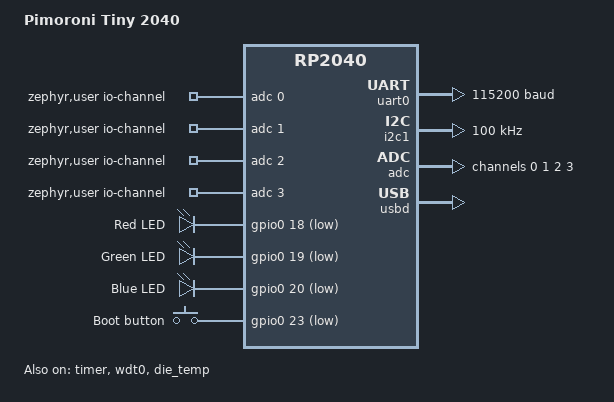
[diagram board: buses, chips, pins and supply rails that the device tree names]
/*
 * Copyright (c) 2021 Yonatan Schachter
 * Copyright (c) 2022 Peter Johanson
 * Copyright (c) 2026 Jonas Berg
 *
 * SPDX-License-Identifier: Apache-2.0
 */

/dts-v1/;

#include <raspberrypi/rpi_pico/rp2040.dtsi>
#include <zephyr/dt-bindings/pinctrl/rpi-pico-rp2040-pinctrl.h>
#include <zephyr/dt-bindings/input/input-event-codes.h>
#include <zephyr/dt-bindings/led/led.h>
#include "tiny2040-pinctrl.dtsi"

/ {
	model = "Pimoroni Tiny 2040";
	compatible = "pimoroni,tiny2040";

	chosen {
		zephyr,sram = &sram0;
		zephyr,flash = &flash0;
		zephyr,flash-controller = &ssi;
		zephyr,console = &uart0;
		zephyr,shell-uart = &uart0;
		zephyr,code-partition = &code_partition;
	};

	aliases {
		watchdog0 = &wdt0;
		led0 = &red_led;
		led1 = &green_led;
		led2 = &blue_led;
		sw0 = &boot_button;
	};

	zephyr,user {
		io-channels = <&adc 0>, <&adc 1>, <&adc 2>, <&adc 3>;
	};

	leds: leds {
		compatible = "gpio-leds";

		red_led: red_led {
			gpios = <&gpio0 18 GPIO_ACTIVE_LOW>;
			label = "Red LED";
		};

		green_led: green_led {
			gpios = <&gpio0 19 GPIO_ACTIVE_LOW>;
			label = "Green LED";
		};

		blue_led: blue_led {
			gpios = <&gpio0 20 GPIO_ACTIVE_LOW>;
			label = "Blue LED";
		};
	};

	gpio_keys {
		compatible = "gpio-keys";

		boot_button: boot_button {
			label = "Boot button";
			gpios = <&gpio0 23 (GPIO_ACTIVE_LOW | GPIO_PULL_UP)>;
			zephyr,code = <INPUT_KEY_0>;
		};
	};
};

&flash0 {
	reg = <0x10000000 DT_SIZE_M(8)>;
	ranges = <0x0 0x10000000 DT_SIZE_M(8)>;

	partitions {
		compatible = "fixed-partitions";
		#address-cells = <1>;
		#size-cells = <1>;
		ranges;

		/* Reserved memory for the second stage bootloader */
		second_stage_bootloader: partition@0 {
			label = "second_stage_bootloader";
			reg = <0x00000000 0x100>;
			read-only;
		};

		/*
		 * Usable flash. Starts at 0x100, after the bootloader. The partition
		 * size is 8 MB minus the 0x100 bytes taken by the bootloader.
		 */
		code_partition: partition@100 {
			label = "code-partition";
			reg = <0x100 (DT_SIZE_M(8) - 0x100)>;
			read-only;
		};
	};
};

&gpio0 {
	status = "okay";
};

&uart0 {
	current-speed = <115200>;
	status = "okay";
	pinctrl-0 = <&uart0_default>;
	pinctrl-names = "default";
};

&i2c1 {
	status = "okay";
	pinctrl-0 = <&i2c1_default>;
	pinctrl-names = "default";
	clock-frequency = <I2C_BITRATE_STANDARD>;
};

&timer {
	status = "okay";
};

&wdt0 {
	status = "okay";
};

&adc {
	status = "okay";
	pinctrl-0 = <&adc_default>;
	pinctrl-names = "default";
	#address-cells = <1>;
	#size-cells = <0>;

	channel@0 {
		reg = <0>;
		zephyr,gain = "ADC_GAIN_1";
		zephyr,reference = "ADC_REF_INTERNAL";
		zephyr,acquisition-time = <ADC_ACQ_TIME_DEFAULT>;
		zephyr,resolution = <12>;
	};

	channel@1 {
		reg = <1>;
		zephyr,gain = "ADC_GAIN_1";
		zephyr,reference = "ADC_REF_INTERNAL";
		zephyr,acquisition-time = <ADC_ACQ_TIME_DEFAULT>;
		zephyr,resolution = <12>;
	};

	channel@2 {
		reg = <2>;
		zephyr,gain = "ADC_GAIN_1";
		zephyr,reference = "ADC_REF_INTERNAL";
		zephyr,acquisition-time = <ADC_ACQ_TIME_DEFAULT>;
		zephyr,resolution = <12>;
	};

	channel@3 {
		reg = <3>;
		zephyr,gain = "ADC_GAIN_1";
		zephyr,reference = "ADC_REF_INTERNAL";
		zephyr,acquisition-time = <ADC_ACQ_TIME_DEFAULT>;
		zephyr,resolution = <12>;
	};
};

zephyr_udc0: &usbd {
	status = "okay";
};

&die_temp {
	status = "okay";
};

&vreg {
	regulator-always-on;
	regulator-allowed-modes = <REGULATOR_RPI_PICO_MODE_NORMAL>;
};

&xosc {
	startup-delay-multiplier = <64>;
};
